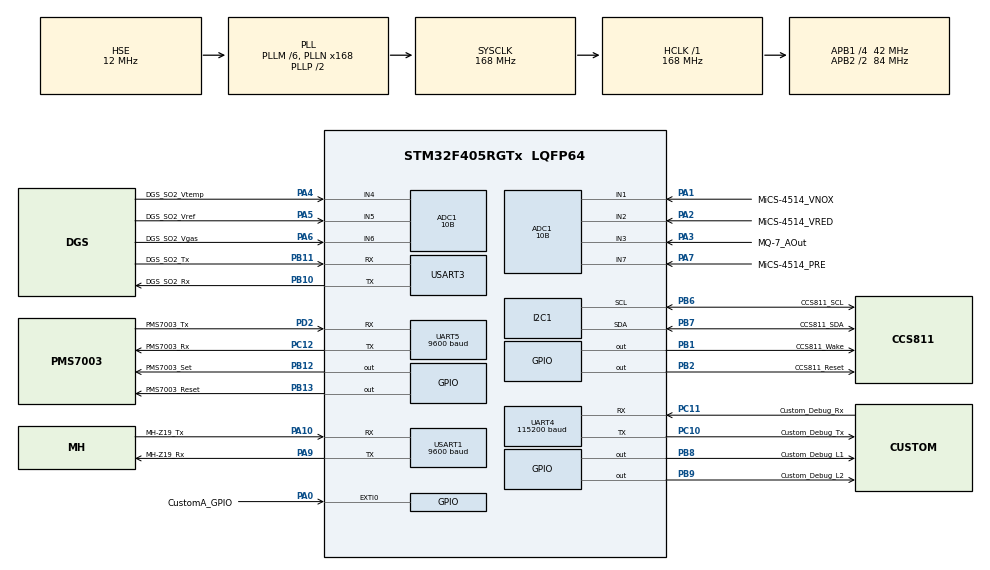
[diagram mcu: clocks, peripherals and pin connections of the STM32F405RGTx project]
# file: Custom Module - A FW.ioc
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ADC1.Channel-1\#ChannelRegularConversion=ADC_CHANNEL_1
ADC1.Channel-2\#ChannelRegularConversion=ADC_CHANNEL_2
ADC1.Channel-3\#ChannelRegularConversion=ADC_CHANNEL_4
ADC1.Channel-4\#ChannelRegularConversion=ADC_CHANNEL_5
ADC1.Channel-5\#ChannelRegularConversion=ADC_CHANNEL_6
ADC1.ContinuousConvMode=ENABLE
ADC1.DMAContinuousRequests=ENABLE
ADC1.InjNumberOfConversion=0
ADC1.NbrOfConversion=5
ADC1.NbrOfConversionFlag=1
ADC1.Rank-1\#ChannelRegularConversion=1
ADC1.Rank-2\#ChannelRegularConversion=2
ADC1.Rank-3\#ChannelRegularConversion=3
ADC1.Rank-4\#ChannelRegularConversion=4
ADC1.Rank-5\#ChannelRegularConversion=5
ADC1.Resolution=ADC_RESOLUTION_10B
ADC1.SamplingTime-1\#ChannelRegularConversion=ADC_SAMPLETIME_84CYCLES
ADC1.SamplingTime-2\#ChannelRegularConversion=ADC_SAMPLETIME_84CYCLES
ADC1.SamplingTime-3\#ChannelRegularConversion=ADC_SAMPLETIME_84CYCLES
ADC1.SamplingTime-4\#ChannelRegularConversion=ADC_SAMPLETIME_84CYCLES
ADC1.SamplingTime-5\#ChannelRegularConversion=ADC_SAMPLETIME_84CYCLES
ADC1.ScanConvMode=ENABLE
ADC1.master=1
Dma.ADC1.0.Direction=DMA_PERIPH_TO_MEMORY
Dma.ADC1.0.FIFOMode=DMA_FIFOMODE_DISABLE
Dma.ADC1.0.Instance=DMA2_Stream0
Dma.ADC1.0.MemDataAlignment=DMA_MDATAALIGN_HALFWORD
Dma.ADC1.0.MemInc=DMA_MINC_ENABLE
Dma.ADC1.0.Mode=DMA_CIRCULAR
Dma.ADC1.0.PeriphDataAlignment=DMA_PDATAALIGN_HALFWORD
Dma.ADC1.0.PeriphInc=DMA_PINC_DISABLE
Dma.ADC1.0.Priority=DMA_PRIORITY_LOW
Dma.Request0=ADC1
Mcu.Family=STM32F4
Mcu.Name=STM32F405RGTx
Mcu.Package=LQFP64
NVIC.DMA2_Stream0_IRQn=true\:0\:0\:false\:false\:true\:false\:true\:true
NVIC.PriorityGroup=NVIC_PRIORITYGROUP_4
PA0-WKUP.GPIO_Label=CustomA_GPIO
PA0-WKUP.Signal=GPXTI0
PA1.GPIO_Label=MiCS-4514_VNOX
PA1.Signal=ADCx_IN1
PA10.GPIO_Label=MH-Z19_Tx
PA10.Mode=Asynchronous
PA10.Signal=USART1_RX
PA13.Mode=Serial_Wire
PA13.Signal=SYS_JTMS-SWDIO
PA14.Mode=Serial_Wire
PA14.Signal=SYS_JTCK-SWCLK
PA2.GPIO_Label=MiCS-4514_VRED
PA2.Signal=ADCx_IN2
PA3.GPIO_Label=MQ-7_AOut
PA3.Signal=ADCx_IN3
PA4.GPIO_Label=DGS_SO2_Vtemp
PA4.Signal=ADCx_IN4
PA5.GPIO_Label=DGS_SO2_Vref
PA5.Signal=ADCx_IN5
PA6.GPIO_Label=DGS_SO2_Vgas
PA6.Signal=ADCx_IN6
PA7.GPIO_Label=MiCS-4514_PRE
PA7.Signal=ADCx_IN7
PA9.GPIO_Label=MH-Z19_Rx
PA9.Mode=Asynchronous
PA9.Signal=USART1_TX
PB1.GPIO_Label=CCS811_Wake
PB1.Signal=GPIO_Output
PB10.GPIO_Label=DGS_SO2_Rx
PB10.Mode=Asynchronous
PB10.Signal=USART3_TX
PB11.GPIO_Label=DGS_SO2_Tx
PB11.Mode=Asynchronous
PB11.Signal=USART3_RX
PB12.GPIO_Label=PMS7003_Set
PB12.Signal=GPIO_Output
PB13.GPIO_Label=PMS7003_Reset
PB13.Signal=GPIO_Output
PB2.GPIO_Label=CCS811_Reset
PB2.Signal=GPIO_Output
PB6.GPIO_Label=CCS811_SCL
PB6.Mode=I2C
PB6.Signal=I2C1_SCL
PB7.GPIO_Label=CCS811_SDA
PB7.Mode=I2C
PB7.Signal=I2C1_SDA
PB8.GPIO_Label=Custom_Debug_L1
PB8.Signal=GPIO_Output
PB9.GPIO_Label=Custom_Debug_L2
PB9.Signal=GPIO_Output
PC10.GPIO_Label=Custom_Debug_Tx
PC10.Mode=Asynchronous
PC10.Signal=UART4_TX
PC11.GPIO_Label=Custom_Debug_Rx
PC11.Mode=Asynchronous
PC11.Signal=UART4_RX
PC12.GPIO_Label=PMS7003_Rx
PC12.Mode=Asynchronous
PC12.Signal=UART5_TX
PD2.GPIO_Label=PMS7003_Tx
PD2.Mode=Asynchronous
PD2.Signal=UART5_RX
PH0-OSC_IN.Mode=HSE-External-Oscillator
PH0-OSC_IN.Signal=RCC_OSC_IN
PH1-OSC_OUT.Mode=HSE-External-Oscillator
PH1-OSC_OUT.Signal=RCC_OSC_OUT
ProjectManager.HeapSize=0x200
ProjectManager.StackSize=0x400
ProjectManager.TargetToolchain=STM32CubeIDE
RCC.48MHZClocksFreq_Value=168000000
RCC.AHBFreq_Value=168000000
RCC.APB1CLKDivider=RCC_HCLK_DIV4
RCC.APB1Freq_Value=42000000
RCC.APB1TimFreq_Value=84000000
RCC.APB2CLKDivider=RCC_HCLK_DIV2
RCC.APB2Freq_Value=84000000
RCC.APB2TimFreq_Value=168000000
RCC.CortexFreq_Value=168000000
RCC.HCLKFreq_Value=168000000
RCC.HSE_VALUE=12000000
RCC.HSI_VALUE=16000000
RCC.LSE_VALUE=32768
RCC.PLLM=6
RCC.PLLN=168
RCC.PLLQ=2
RCC.PLLSourceVirtual=RCC_PLLSOURCE_HSE
RCC.SYSCLKFreq_VALUE=168000000
RCC.SYSCLKSource=RCC_SYSCLKSOURCE_PLLCLK
RCC.VCOOutputFreq_Value=336000000
SH.ADCx_IN1.0=ADC1_IN1,IN1
SH.ADCx_IN2.0=ADC1_IN2,IN2
SH.ADCx_IN3.0=ADC1_IN3,IN3
SH.ADCx_IN4.0=ADC1_IN4,IN4
SH.ADCx_IN5.0=ADC1_IN5,IN5
SH.ADCx_IN6.0=ADC1_IN6,IN6
SH.ADCx_IN7.0=ADC1_IN7,IN7
UART4.BaudRate=115200
UART4.VirtualMode=Asynchronous
UART5.BaudRate=9600
UART5.VirtualMode=Asynchronous
USART1.BaudRate=9600
USART1.VirtualMode=VM_ASYNC
USART3.VirtualMode=VM_ASYNC
board=custom

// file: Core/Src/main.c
/* USER CODE BEGIN Header */
/**
  ******************************************************************************
  * @file           : main.c
  * @brief          : Main program body
  ******************************************************************************
  * @attention
  *
  * Copyright (c) 2023 STMicroelectronics.
  * All rights reserved.
  *
  * This software is licensed under terms that can be found in the LICENSE file
  * in the root directory of this software component.
  * If no LICENSE file comes with this software, it is provided AS-IS.
  *
  ******************************************************************************
  */
/* USER CODE END Header */
#include "main.h"
#include "adc.h"
#include "dma.h"
#include "i2c.h"
#include "usart.h"
#include "gpio.h"

/* USER CODE BEGIN Includes */
#define MHZ19B_CMD_READ_CO2 0x86
/* USER CODE END Includes */

/* USER CODE BEGIN PTD */
int _write(int file, char* p, int len){
	HAL_UART_Transmit(&huart4, p, len, 10);
	return len;
}

/* USER CODE END PTD */

void SystemClock_Config(void);

/* USER CODE BEGIN 0 */
uint8_t pms[32];
uint16_t adcval[5];
uint8_t str[128];

void read_Pms()
{
	for (uint8_t i = 0; i < sizeof(pms); i++)
	{
		if (HAL_UART_Receive(&huart5, &pms[i], 1, 1000) != HAL_OK) break;
	}
}

void send_Data()
{
	uint8_t txData[14];

	float no2 = (22000/(5/(2*adcval[0]/1227.6)-1));
	float no2_ppm = no2*0.000008-0.0194;
	int no2_int = (int)no2_ppm;
	int no2_float = (int)(no2_ppm * 100);

	float co_ppm = no2_ppm*20;
	uint8_t co_int = (int)co_ppm;
	uint8_t co_float = (int)(co_ppm * 100);

	float so2_concentration = 341.064; // 1/(sensitivity code(29.32) * TIA gain(100) * 10^-9 * 10^3)
	float so2_ppb = so2_concentration*(3.3/1024*(adcval[4]-adcval[3]));
	if(so2_ppb < 0) so2_ppb = 0;

	uint8_t so2_int = (int)so2_ppb;
	uint8_t so2_float = (int)(so2_ppb * 100);

	float so2_temp = (24.86*3.3/1024*adcval[2])-20;
	uint8_t so2Temp_int = (int)so2_temp;
	uint8_t so2Temp_float = (int)(so2_temp * 100);

	txData[0] = 77;
	txData[1] = 99;

	txData[2] = pms[10];
	txData[3] = pms[11];
	txData[4] = pms[12];
	txData[5] = pms[13];
	txData[6] = pms[14];
	txData[7] = pms[15];

	txData[8] = no2_int;
	txData[9] = no2_float;

	txData[10] = so2_int;
	txData[11] = so2_float;

	txData[12] = so2Temp_int;
	txData[13] = so2Temp_float;

	sprintf(str, "Data,%d,%d,%d,%d,%d,%d,%d,%d,%d,%d,%d,%d,%d\n", txData[0], txData[1], txData[2], txData[3], txData[4], txData[5], txData[6], txData[7], txData[8], txData[9], txData[10], txData[11], txData[12], txData[13]);
	printf(str);
}

/* USER CODE END 0 */

int main(void)
{

  /* MCU Configuration--------------------------------------------------------*/

  /* Reset of all peripherals, Initializes the Flash interface and the Systick. */
  HAL_Init();

  /* Configure the system clock */
  SystemClock_Config();

  /* Initialize all configured peripherals */
  MX_GPIO_Init();
  MX_DMA_Init();
  MX_ADC1_Init();
  MX_I2C1_Init();
  MX_UART4_Init();
  MX_UART5_Init();
  MX_USART1_UART_Init();
  MX_USART3_UART_Init();
  /* USER CODE BEGIN 2 */

    HAL_ADC_Start_DMA(&hadc1, &adcval[0], 5);

    uint8_t str[20];
    uint8_t a = 0x7;
  /* USER CODE END 2 */

  /* Infinite loop */
  /* USER CODE BEGIN WHILE */
  while (1)
  {
	  read_Pms();
	  send_Data();
	  HAL_Delay(1000);
	  HAL_GPIO_TogglePin(GPIOB, GPIO_PIN_8);
	  HAL_Delay(2000);
	  HAL_GPIO_TogglePin(GPIOB, GPIO_PIN_9);
	  HAL_Delay(1300);

    /* USER CODE END WHILE */

  }
}

void SystemClock_Config(void)
{
  RCC_OscInitTypeDef RCC_OscInitStruct = {0};
  RCC_ClkInitTypeDef RCC_ClkInitStruct = {0};

  /** Configure the main internal regulator output voltage
  */
  __HAL_RCC_PWR_CLK_ENABLE();
  __HAL_PWR_VOLTAGESCALING_CONFIG(PWR_REGULATOR_VOLTAGE_SCALE1);

  /** Initializes the RCC Oscillators according to the specified parameters
  * in the RCC_OscInitTypeDef structure.
  */
  RCC_OscInitStruct.OscillatorType = RCC_OSCILLATORTYPE_HSE;
  RCC_OscInitStruct.HSEState = RCC_HSE_ON;
  RCC_OscInitStruct.PLL.PLLState = RCC_PLL_ON;
  RCC_OscInitStruct.PLL.PLLSource = RCC_PLLSOURCE_HSE;
  RCC_OscInitStruct.PLL.PLLM = 6;
  RCC_OscInitStruct.PLL.PLLN = 168;
  RCC_OscInitStruct.PLL.PLLP = RCC_PLLP_DIV2;
  RCC_OscInitStruct.PLL.PLLQ = 2;
  if (HAL_RCC_OscConfig(&RCC_OscInitStruct) != HAL_OK)
  {
    Error_Handler();
  }

  /** Initializes the CPU, AHB and APB buses clocks
  */
  RCC_ClkInitStruct.ClockType = RCC_CLOCKTYPE_HCLK|RCC_CLOCKTYPE_SYSCLK
                              |RCC_CLOCKTYPE_PCLK1|RCC_CLOCKTYPE_PCLK2;
  RCC_ClkInitStruct.SYSCLKSource = RCC_SYSCLKSOURCE_PLLCLK;
  RCC_ClkInitStruct.AHBCLKDivider = RCC_SYSCLK_DIV1;
  RCC_ClkInitStruct.APB1CLKDivider = RCC_HCLK_DIV4;
  RCC_ClkInitStruct.APB2CLKDivider = RCC_HCLK_DIV2;

  if (HAL_RCC_ClockConfig(&RCC_ClkInitStruct, FLASH_LATENCY_5) != HAL_OK)
  {
    Error_Handler();
  }
}

void Error_Handler(void)
{
  __disable_irq();
  while (1)
  {
  }
}
